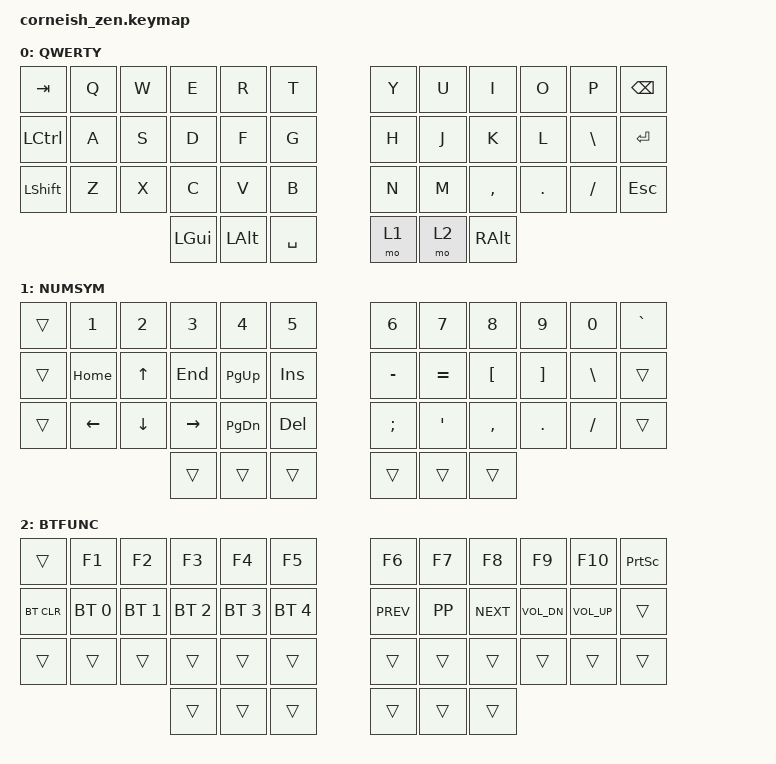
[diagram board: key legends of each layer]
#include <behaviors.dtsi>
#include <dt-bindings/zmk/keys.h>
#include <dt-bindings/zmk/bt.h>

/ {
    chosen {
        zmk,physical-layout = &foostan_corne_6col_layout;
    };
};

/ {
    keymap {
        compatible = "zmk,keymap";

        default_layer {
            display-name = "QWERTY";
            bindings = <
&kp TAB   &kp Q &kp W &kp E    &kp R    &kp T        &kp Y &kp U &kp I     &kp O   &kp P    &kp BSPC
&kp LCTRL &kp A &kp S &kp D    &kp F    &kp G        &kp H &kp J &kp K     &kp L   &kp BSLH &kp RET
&kp LSHFT &kp Z &kp X &kp C    &kp V    &kp B        &kp N &kp M &kp COMMA &kp DOT &kp FSLH &kp ESC
                      &kp LGUI &kp LALT &kp SPACE    &mo 1 &mo 2 &kp RALT
            >;
        };

        lower_layer {
            display-name = "NUMSYM";
            bindings = <
&trans &kp N1   &kp N2   &kp N3    &kp N4    &kp N5     &kp N6    &kp N7    &kp N8    &kp N9   &kp N0   &kp GRAVE
&trans &kp HOME &kp UP   &kp END   &kp PG_UP &kp INS    &kp MINUS &kp EQUAL &kp LBKT  &kp RBKT &kp BSLH &trans
&trans &kp LEFT &kp DOWN &kp RIGHT &kp PG_DN &kp DEL    &kp SEMI  &kp APOS  &kp COMMA &kp DOT  &kp FSLH &trans
                         &trans    &trans    &trans     &trans    &trans    &trans
            >;
        };

        raise_layer {
            display-name = "BTFUNC";
            bindings = <
&trans     &kp F1       &kp F2       &kp F3       &kp F4       &kp F5          &kp F6     &kp F7   &kp F8     &kp F9       &kp F10      &kp PSCRN
&bt BT_CLR &bt BT_SEL 0 &bt BT_SEL 1 &bt BT_SEL 2 &bt BT_SEL 3 &bt BT_SEL 4    &kp K_PREV &kp K_PP &kp K_NEXT &kp K_VOL_DN &kp K_VOL_UP &trans
&trans     &trans       &trans       &trans       &trans       &trans          &trans     &trans   &trans     &trans       &trans       &trans
                                     &trans       &trans       &trans          &trans     &trans   &trans
            >;
        };
    };
};
